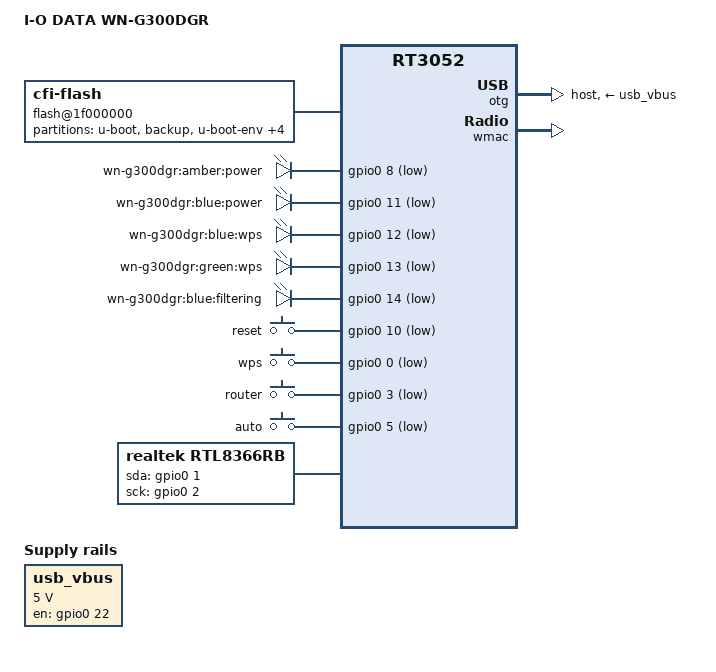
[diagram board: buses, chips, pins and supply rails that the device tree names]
// SPDX-License-Identifier: GPL-2.0-or-later OR MIT
/dts-v1/;

#include "rt3050.dtsi"

#include <dt-bindings/gpio/gpio.h>
#include <dt-bindings/input/input.h>

/ {
	compatible = "iodata,wn-g300dgr", "ralink,rt3052-soc";
	model = "I-O DATA WN-G300DGR";

	aliases {
		led-boot = &led_power_blue;
		led-failsafe = &led_power_amber;
		led-running = &led_power_blue;
		led-upgrade = &led_power_blue;
	};

	flash@1f000000 {
		compatible = "cfi-flash";
		reg = <0x1f000000 0x400000>;
		bank-width = <2>;
		device-width = <2>;

		partitions {
			compatible = "fixed-partitions";
			#address-cells = <1>;
			#size-cells = <1>;

			partition@0 {
				label = "u-boot";
				reg = <0x0 0x20000>;
				read-only;
			};

			partition@20000 {
				label = "backup";
				reg = <0x20000 0x10000>;
				read-only;
			};

			partition@30000 {
				label = "u-boot-env";
				reg = <0x30000 0x10000>;
				read-only;
			};

			factory: partition@40000 {
				label = "factory";
				reg = <0x40000 0x10000>;
				read-only;
			};

			partition@50000 {
				compatible = "denx,uimage";
				label = "firmware";
				reg = <0x50000 0x360000>;
			};

			partition@3b0000 {
				label = "manufacture";
				reg = <0x3b0000 0x40000>;
				read-only;
			};

			partition@3f0000 {
				label = "storage";
				reg = <0x3f0000 0x10000>;
				read-only;
			};
		};
	};

	leds {
		compatible = "gpio-leds";

		led_power_amber: power-amber {
			label = "wn-g300dgr:amber:power";
			gpios = <&gpio0 8 GPIO_ACTIVE_LOW>;
		};

		led_power_blue: power-blue {
			label = "wn-g300dgr:blue:power";
			gpios = <&gpio0 11 GPIO_ACTIVE_LOW>;
		};

		wps-blue {
			label = "wn-g300dgr:blue:wps";
			gpios = <&gpio0 12 GPIO_ACTIVE_LOW>;
		};

		wps-green {
			label = "wn-g300dgr:green:wps";
			gpios = <&gpio0 13 GPIO_ACTIVE_LOW>;
		};

		filtering {
			label = "wn-g300dgr:blue:filtering";
			gpios = <&gpio0 14 GPIO_ACTIVE_LOW>;
		};
	};

	keys {
		compatible = "gpio-keys";

		reset {
			label = "reset";
			gpios = <&gpio0 10 GPIO_ACTIVE_LOW>;
			linux,code = <KEY_RESTART>;
		};

		wps {
			label = "wps";
			gpios = <&gpio0 0 GPIO_ACTIVE_LOW>;
			linux,code = <KEY_WPS_BUTTON>;
		};

		router {
			label = "router";
			gpios = <&gpio0 3 GPIO_ACTIVE_LOW>;
			linux,code = <BTN_0>;
			linux,input-type = <EV_SW>;
		};

		auto {
			label = "auto";
			gpios = <&gpio0 5 GPIO_ACTIVE_LOW>;
			linux,code = <BTN_1>;
			linux,input-type = <EV_SW>;
		};
	};

	usb_vbus: regulator-usb-vbus {
		compatible = "regulator-fixed";

		regulator-name = "usb_vbus";

		regulator-min-microvolt = <5000000>;
		regulator-max-microvolt = <5000000>;
		regulator-always-on;

		gpio = <&gpio0 22 GPIO_ACTIVE_HIGH>;
		enable-active-high;
	};

	rtl8366rb {
		compatible = "realtek,rtl8366rb";
		gpio-sda = <&gpio0 1 GPIO_ACTIVE_HIGH>;
		gpio-sck = <&gpio0 2 GPIO_ACTIVE_HIGH>;
	};
};

&esw {
	ralink,rgmii = <1>;
	mediatek,portmap = <0x3f>;
	ralink,fct2 = <0x0002500c>;
	/*
	 * ext phy base addr 31, rx/tx clock skew 0,
	 * turbo mii off, rgmi 3.3v off, port 5 polling off
	 * port5: enabled, gige, full-duplex, rx/tx-flow-control
	 * port6: enabled, gige, full-duplex, rx/tx-flow-control
	*/
	ralink,fpa2 = <0x1f003fff>;
};

&ethernet {
	mtd-mac-address = <&factory 0x4>;
	pinctrl-names = "default";
	pinctrl-0 = <&rgmii_pins>;
};

&otg {
	status = "okay";

	dr_mode = "host";
	vbus-supply = <&usb_vbus>;
};

&state_default {
	gpio {
		groups = "spi", "i2c", "jtag", "mdio", "uartf";
		function = "gpio";
	};
};

&wmac {
	ralink,mtd-eeprom = <&factory 0>;
};
